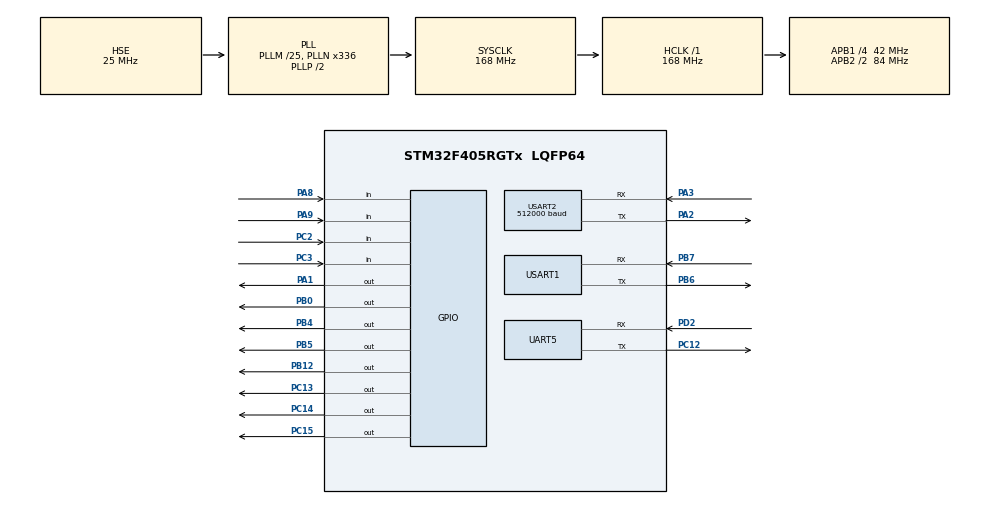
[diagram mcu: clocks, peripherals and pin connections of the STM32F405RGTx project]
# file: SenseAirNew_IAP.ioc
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Dma.Request0=UART5_RX
Dma.Request1=UART5_TX
Dma.Request2=USART1_RX
Dma.Request3=USART2_RX
Dma.Request4=USART1_TX
Dma.Request5=USART2_TX
Dma.UART5_RX.0.Direction=DMA_PERIPH_TO_MEMORY
Dma.UART5_RX.0.FIFOMode=DMA_FIFOMODE_DISABLE
Dma.UART5_RX.0.Instance=DMA1_Stream0
Dma.UART5_RX.0.MemDataAlignment=DMA_MDATAALIGN_BYTE
Dma.UART5_RX.0.MemInc=DMA_MINC_ENABLE
Dma.UART5_RX.0.Mode=DMA_CIRCULAR
Dma.UART5_RX.0.PeriphDataAlignment=DMA_PDATAALIGN_BYTE
Dma.UART5_RX.0.PeriphInc=DMA_PINC_DISABLE
Dma.UART5_RX.0.Priority=DMA_PRIORITY_VERY_HIGH
Dma.UART5_TX.1.Direction=DMA_MEMORY_TO_PERIPH
Dma.UART5_TX.1.FIFOMode=DMA_FIFOMODE_DISABLE
Dma.UART5_TX.1.Instance=DMA1_Stream7
Dma.UART5_TX.1.MemDataAlignment=DMA_MDATAALIGN_BYTE
Dma.UART5_TX.1.MemInc=DMA_MINC_ENABLE
Dma.UART5_TX.1.Mode=DMA_NORMAL
Dma.UART5_TX.1.PeriphDataAlignment=DMA_PDATAALIGN_BYTE
Dma.UART5_TX.1.PeriphInc=DMA_PINC_DISABLE
Dma.UART5_TX.1.Priority=DMA_PRIORITY_VERY_HIGH
Dma.USART1_RX.2.Direction=DMA_PERIPH_TO_MEMORY
Dma.USART1_RX.2.FIFOMode=DMA_FIFOMODE_DISABLE
Dma.USART1_RX.2.Instance=DMA2_Stream2
Dma.USART1_RX.2.MemDataAlignment=DMA_MDATAALIGN_BYTE
Dma.USART1_RX.2.MemInc=DMA_MINC_ENABLE
Dma.USART1_RX.2.Mode=DMA_CIRCULAR
Dma.USART1_RX.2.PeriphDataAlignment=DMA_PDATAALIGN_BYTE
Dma.USART1_RX.2.PeriphInc=DMA_PINC_DISABLE
Dma.USART1_RX.2.Priority=DMA_PRIORITY_VERY_HIGH
Dma.USART1_TX.4.Direction=DMA_MEMORY_TO_PERIPH
Dma.USART1_TX.4.FIFOMode=DMA_FIFOMODE_DISABLE
Dma.USART1_TX.4.Instance=DMA2_Stream7
Dma.USART1_TX.4.MemDataAlignment=DMA_MDATAALIGN_BYTE
Dma.USART1_TX.4.MemInc=DMA_MINC_ENABLE
Dma.USART1_TX.4.Mode=DMA_NORMAL
Dma.USART1_TX.4.PeriphDataAlignment=DMA_PDATAALIGN_BYTE
Dma.USART1_TX.4.PeriphInc=DMA_PINC_DISABLE
Dma.USART1_TX.4.Priority=DMA_PRIORITY_VERY_HIGH
Dma.USART2_RX.3.Direction=DMA_PERIPH_TO_MEMORY
Dma.USART2_RX.3.FIFOMode=DMA_FIFOMODE_DISABLE
Dma.USART2_RX.3.Instance=DMA1_Stream5
Dma.USART2_RX.3.MemDataAlignment=DMA_MDATAALIGN_BYTE
Dma.USART2_RX.3.MemInc=DMA_MINC_ENABLE
Dma.USART2_RX.3.Mode=DMA_CIRCULAR
Dma.USART2_RX.3.PeriphDataAlignment=DMA_PDATAALIGN_BYTE
Dma.USART2_RX.3.PeriphInc=DMA_PINC_DISABLE
Dma.USART2_RX.3.Priority=DMA_PRIORITY_VERY_HIGH
Dma.USART2_TX.5.Direction=DMA_MEMORY_TO_PERIPH
Dma.USART2_TX.5.FIFOMode=DMA_FIFOMODE_DISABLE
Dma.USART2_TX.5.Instance=DMA1_Stream6
Dma.USART2_TX.5.MemDataAlignment=DMA_MDATAALIGN_BYTE
Dma.USART2_TX.5.MemInc=DMA_MINC_ENABLE
Dma.USART2_TX.5.Mode=DMA_NORMAL
Dma.USART2_TX.5.PeriphDataAlignment=DMA_PDATAALIGN_BYTE
Dma.USART2_TX.5.PeriphInc=DMA_PINC_DISABLE
Dma.USART2_TX.5.Priority=DMA_PRIORITY_VERY_HIGH
Mcu.Family=STM32F4
Mcu.Name=STM32F405RGTx
Mcu.Package=LQFP64
NVIC.DMA1_Stream0_IRQn=true\:0\:0\:false\:false\:true\:false
NVIC.DMA1_Stream5_IRQn=true\:0\:0\:false\:false\:true\:false
NVIC.DMA1_Stream6_IRQn=true\:0\:0\:false\:false\:true\:false
NVIC.DMA1_Stream7_IRQn=true\:0\:0\:false\:false\:true\:false
NVIC.DMA2_Stream2_IRQn=true\:0\:0\:false\:false\:true\:false
NVIC.DMA2_Stream7_IRQn=true\:0\:0\:false\:false\:true\:false
NVIC.PriorityGroup=NVIC_PRIORITYGROUP_4
NVIC.UART5_IRQn=true\:0\:0\:false\:false\:true\:true
NVIC.USART1_IRQn=true\:0\:0\:false\:false\:true\:true
NVIC.USART2_IRQn=true\:0\:0\:false\:false\:true\:true
PA1.Signal=GPIO_Output
PA13.Mode=Serial_Wire
PA13.Signal=SYS_JTMS-SWDIO
PA14.Mode=Serial_Wire
PA14.Signal=SYS_JTCK-SWCLK
PA2.Mode=Asynchronous
PA2.Signal=USART2_TX
PA3.Mode=Asynchronous
PA3.Signal=USART2_RX
PA5.Signal=SPI1_SCK
PA6.Signal=SPI1_MISO
PA7.Signal=SPI1_MOSI
PA8.Signal=GPIO_Input
PA9.Signal=GPIO_Input
PB0.Signal=GPIO_Output
PB12.Signal=GPIO_Output
PB13.Signal=SPI2_SCK
PB14.Signal=SPI2_MISO
PB15.Signal=SPI2_MOSI
PB4.Signal=GPIO_Output
PB5.Signal=GPIO_Output
PB6.Mode=Asynchronous
PB6.Signal=USART1_TX
PB7.Mode=Asynchronous
PB7.Signal=USART1_RX
PC12.Mode=Asynchronous
PC12.Signal=UART5_TX
PC13-ANTI_TAMP.Signal=GPIO_Output
PC14-OSC32_IN.Signal=GPIO_Output
PC15-OSC32_OUT.Signal=GPIO_Output
PC2.Signal=GPIO_Input
PC3.Signal=GPIO_Input
PD2.Mode=Asynchronous
PD2.Signal=UART5_RX
PH0-OSC_IN.Mode=HSE-External-Oscillator
PH0-OSC_IN.Signal=RCC_OSC_IN
PH1-OSC_OUT.Mode=HSE-External-Oscillator
PH1-OSC_OUT.Signal=RCC_OSC_OUT
ProjectManager.HeapSize=0xF000
ProjectManager.StackSize=0x8000
ProjectManager.TargetToolchain=EWARM
RCC.48MHZClocksFreq_Value=84000000
RCC.AHBFreq_Value=168000000
RCC.APB1CLKDivider=RCC_HCLK_DIV4
RCC.APB1Freq_Value=42000000
RCC.APB1TimFreq_Value=84000000
RCC.APB2CLKDivider=RCC_HCLK_DIV2
RCC.APB2Freq_Value=84000000
RCC.APB2TimFreq_Value=168000000
RCC.CortexFreq_Value=168000000
RCC.HCLKFreq_Value=168000000
RCC.HSE_VALUE=25000000
RCC.HSI_VALUE=16000000
RCC.LSE_VALUE=32768
RCC.PLLM=25
RCC.PLLN=336
RCC.PLLSourceVirtual=RCC_PLLSOURCE_HSE
RCC.SYSCLKFreq_VALUE=168000000
RCC.SYSCLKSource=RCC_SYSCLKSOURCE_PLLCLK
RCC.VCOOutputFreq_Value=336000000
UART5.VirtualMode=Asynchronous
USART1.VirtualMode=VM_ASYNC
USART2.BaudRate=512000
USART2.VirtualMode=VM_ASYNC
VP_CRC_VS_CRC.Mode=CRC_Activate
board=SenseAirNew_IAP

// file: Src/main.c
/**
  ******************************************************************************
  * @file           : main.c
  * @brief          : Main program body
  ******************************************************************************
  ** This notice applies to any and all portions of this file
  * that are not between comment pairs USER CODE BEGIN and
  * USER CODE END. Other portions of this file, whether
  * inserted by the user or by software development tools
  * are owned by their respective copyright owners.
  *
  * COPYRIGHT(c) 2018 STMicroelectronics
  *
  * Redistribution and use in source and binary forms, with or without modification,
  * are permitted provided that the following conditions are met:
  *   1. Redistributions of source code must retain the above copyright notice,
  *      this list of conditions and the following disclaimer.
  *   2. Redistributions in binary form must reproduce the above copyright notice,
  *      this list of conditions and the following disclaimer in the documentation
  *      and/or other materials provided with the distribution.
  *   3. Neither the name of STMicroelectronics nor the names of its contributors
  *      may be used to endorse or promote products derived from this software
  *      without specific prior written permission.
  *
  * THIS SOFTWARE IS PROVIDED BY THE COPYRIGHT HOLDERS AND CONTRIBUTORS "AS IS"
  * AND ANY EXPRESS OR IMPLIED WARRANTIES, INCLUDING, BUT NOT LIMITED TO, THE
  * IMPLIED WARRANTIES OF MERCHANTABILITY AND FITNESS FOR A PARTICULAR PURPOSE ARE
  * DISCLAIMED. IN NO EVENT SHALL THE COPYRIGHT HOLDER OR CONTRIBUTORS BE LIABLE
  * FOR ANY DIRECT, INDIRECT, INCIDENTAL, SPECIAL, EXEMPLARY, OR CONSEQUENTIAL
  * DAMAGES (INCLUDING, BUT NOT LIMITED TO, PROCUREMENT OF SUBSTITUTE GOODS OR
  * SERVICES; LOSS OF USE, DATA, OR PROFITS; OR BUSINESS INTERRUPTION) HOWEVER
  * CAUSED AND ON ANY THEORY OF LIABILITY, WHETHER IN CONTRACT, STRICT LIABILITY,
  * OR TORT (INCLUDING NEGLIGENCE OR OTHERWISE) ARISING IN ANY WAY OUT OF THE USE
  * OF THIS SOFTWARE, EVEN IF ADVISED OF THE POSSIBILITY OF SUCH DAMAGE.
  *
  ******************************************************************************
  */
#include "main.h"
#include "stm32f4xx_hal.h"

/* USER CODE BEGIN Includes */

#include "stm32f4xx_hal_crc.h"

#include "includes.h"
#include "stm32f4xx_hal_flash.h"
#include "stm32f4xx_hal_flash_ex.h"
#include "common.h"
/* USER CODE END Includes */

CRC_HandleTypeDef hcrc;

UART_HandleTypeDef huart5;
UART_HandleTypeDef huart1;
UART_HandleTypeDef huart2;
DMA_HandleTypeDef hdma_uart5_rx;
DMA_HandleTypeDef hdma_uart5_tx;
DMA_HandleTypeDef hdma_usart1_rx;
DMA_HandleTypeDef hdma_usart1_tx;
DMA_HandleTypeDef hdma_usart2_rx;
DMA_HandleTypeDef hdma_usart2_tx;

/* USER CODE BEGIN PV */
/* Private variables ---------------------------------------------------------*/
//UART_HandleTypeDef UartHandle;

#define Sense_UID1 (*(__I uint32_t *) 0x1FFF7A10)
#define Sense_UID2 (*(__I uint32_t *) 0x1FFF7A14)
#define Sense_UID3 (*(__I uint32_t *) 0x1FFF7A18)
float Smart_Version_ID;
float Sense_Version_ID = 2.21;

uint32_t  Smart_UID1, Smart_UID2, Smart_UID3;
char term_buffer[3000];

//#define G 9.80665
uint32_t msTicks = 0, msTicks_Send_to_Modem = 0;
uint32_t Counter1Sec;
uint32_t Counter1Min;
uint32_t CounterNoGPS;

//#define ARM_MATH_CM4
//#define __FPU_PRESENT 1

int Wait_Answer(long int wait);

//#define STD_arr_len 20
//        float AX_arr[STD_arr_len];
//        float AY_arr[STD_arr_len];
//        float AZ_arr[STD_arr_len];
//        float AX_Std = 0,AY_Std=0,AZ_Std=0;
//        int A_arr_cnt=0;

// AT commands
char ATcommandCheckGPS[] = "at^sgpsc?\r\n";
char ATcommandCheckGPSEngine[] = "at^sgpsc:\"Engine\"\r\n";
char ATcommandEnableGPS[] = "at^sgpsc=\"Engine\",3\r\n";
char ATcommandDisableGPS_GPGSV[] = "at^SGPSC=\"Nmea/Data\",\"GSV\",\"off\"\r\n";
char ATcommandEnableGPS_GPRMC[] = "at^SGPSC=\"Nmea/Data\",\"RMC\",\"on\"\r\n";

//input buffer & pointers UART1 & UART5
char * status = "1";
char * id = "1";

extern char aRxBufferCh5;
extern char InBuf5[];
extern uint16_t InBuf5InPtr;

extern char aRxBufferCh1;
extern char InBuf1[];
extern uint16_t InBuf1InPtr;

extern char aRxBufferCh2;
extern char InBuf2[];
extern uint16_t InBuf2InPtr;

bool Catched_String_UART1 = false;
bool Catched_String_UART2 = false;
bool Catched_String_UART5 = false;
float roll_calib = 0, pitch_calib = 0;
void InsertCharToString_UART2(char InChar); // catch string at UART2
char pbuf_IN_UART2[500];
uint16_t pbuf_IN_UART2_ptr = 0;

uint16_t Great_Status=0;
uint16_t Destination=0; 			//  where to send data from modem
uint16_t emergency_state=0;
//--------------------

uint8_t pos, start, Catching_Gps_Message = 0, Got_Gps_Message = 0,
		Got_RMC_Message = 0, Got_GGA_Message = 0;
char pbuf[200] = "";
uint16_t pbuf_ptr = 0;
char header[100] = "";

uint8_t gprmc_rdy = 0;
uint8_t gpgga_rdy = 0;

uint16_t SentCnt = 0; // counter of sent GPS messages to cloud

float GPS_lat, GPS_lon, angle, Hangle, lat, lon, lat_seconds, lon_seconds, HDOP,
	  height, velocity;

char height_units, HangleC, ModeC, Valid, lat_sign, lon_sign;

int GPS_hour, GPS_min, GPS_sec, GPS_ms, GPS_day, GPS_month, GPS_year,
		lat_degrees, lat_minutes, lon_degrees, lon_minutes, precision,
		satellites;
bool need_smart_cfg = 1;

typedef struct sEE_DATA
{
  uint32_t status;
  float att_roll_lim;
  float att_pitch_lim;
  float att_rate_lim;
  float att_rate;
  float yaw_rate;
  float height_lim;
  float fall_value;
  float pyro_res;
  uint8_t count_fall;
  uint8_t rc;
  uint8_t emr_bat_ena;
  uint8_t num_of_cell;
  uint8_t ec;
  uint16_t motor_delay;
  float sea_level;
  uint16_t dst;                              // where to send data from modem
  uint8_t use_sd_card;
  uint16_t pyro_test_freq;
  char Password[30];
  char Log_file_name[255];
} tEE_DATA;
tEE_DATA ee;

char ResultStringToCloud[500];
char StringToSmart[500];

/* USER CODE END PV */

void SystemClock_Config(void);
static void MX_GPIO_Init(void);
static void MX_DMA_Init(void);
static void MX_UART5_Init(void);
static void MX_USART1_UART_Init(void);
static void MX_USART2_UART_Init(void);
static void MX_CRC_Init(void);

/* USER CODE BEGIN PFP */
/* Private function prototypes -----------------------------------------------*/

pFunction JumpToApplication;
uint32_t JumpAddress;
uint32_t FlashProtection = 0;
uint8_t aFileName[FILE_NAME_LENGTH];

/* Private function prototypes -----------------------------------------------*/
int SerialDownload(bool move);
void SerialUpload(void);

extern char aRxBufferCh1;
extern char aRxBufferCh2;
extern char aRxBufferCh5;

/* Private functions ---------------------------------------------------------*/

/**
  * @brief  Download a file via serial port
  * @param  None
  * @retval None
  */

void Jump_to_main_programm(void)
{
      JumpAddress = *(__IO uint32_t*) (APPLICATION_ADDRESS + 4);
      JumpToApplication = (pFunction) JumpAddress;
      __set_MSP(*(__IO uint32_t*) APPLICATION_ADDRESS);
      JumpToApplication();
}

 /* calculating CRC */

u32 revbit(u32 data)
 {
   asm("rbit r0,r0");
   return data;
 };

u32 CalcCRC32(u8 *buffer,u32 size)
 {
   u32 i, j;
   u32 ui32;
   //RCC_AHBPeriphClockCmd(RCC_AHBPeriph_CRC,ENABLE);

   CRC->CR=1;

   asm("NOP");asm("NOP");asm("NOP");//delay for hardware ready

   i = size >> 2;

   while(i--)
   {
     ui32=*((u32 *)buffer);

     buffer += 4;

     ui32=revbit(ui32);//reverse the bit order of input data

     CRC->DR=ui32;
   }

   ui32=CRC->DR;

   ui32=revbit(ui32);//reverse the bit order of output data

   i = size & 3;

   while(i--)
   {
     ui32 ^= (u32)*buffer++;

     for(j=0; j<8; j++)
       if (ui32 & 1)
         ui32 = (ui32 >> 1) ^ 0xEDB88320;
       else
         ui32 >>= 1;
   }

   ui32^=0xffffffff;//xor with 0xffffffff

   return ui32;//now the output is compatible with windows/winzip/winrar
 };

void vprint(const char *fmt, va_list argp) {
	char string[300];
	if (0 < vsprintf(string, fmt, argp)) // build string
			{
		HAL_UART_Transmit(&huart1, (u8*) string, strlen(string), 500); // send message via UART
	}
}

void send_to_PC_UART1(const char *fmt, ...) // custom printf() function
{
	va_list argp;
	va_start(argp, fmt);
	vprint(fmt, argp);
	va_end(argp);
}

void vprint2(const char *fmt, va_list argp) {
	char string[300];
	if (0 < vsprintf(string, fmt, argp)) // build string
	{
		HAL_UART_Transmit(&huart2, (u8*) string, strlen(string), 500); // send message via UART
	}
}

void send_to_smartair(const char *fmt, ...) // custom printf() function
{
	va_list argp;
	va_start(argp, fmt);
	vprint2(fmt, argp);
	va_end(argp);
}
void vprint3(const char *fmt, va_list argp) {
	char string[300];
	if (0 < vsprintf(string, fmt, argp)) // build string
			{
		HAL_UART_Transmit(&huart5, (u8*) string, strlen(string), 500); // send message via UART
	}
}

void send_to_modem(const char *fmt, ...) // custom printf() function
{
	va_list argp;
	va_start(argp, fmt);
	vprint3(fmt, argp);
	va_end(argp);
}

void InsertCharToString_UART2(char InChar) // catch string at UART2
{       if (!Catched_String_UART2)
        {
          pbuf_IN_UART2[pbuf_IN_UART2_ptr++] = InChar;
          if (InChar=='\r')
              { Catched_String_UART2 = true;
                pbuf_IN_UART2[pbuf_IN_UART2_ptr]=0;
                pbuf_IN_UART2_ptr = 0;
              }
          else
          { Catched_String_UART2 = false;
            if (pbuf_IN_UART2_ptr>=500)
              { pbuf_IN_UART2_ptr=0;
              }
          }
	}
}

//uint32_t acu_File[3000];
//uint32_t ccu_File[3000];
extern uint32_t msTicks,msTicks_Send_to_Modem;
extern UART_HandleTypeDef huart2;
extern UART_HandleTypeDef huart5;

extern bool Catched_String_UART5;
//char aRxBufferCh5='5';
//#define InBuf5SizeDef 2000
extern char InBuf5[];
extern uint16_t InBuf5InPtr;
uint32_t acuCRC =0 ,ccuCRC = 0;
uint32_t acu_Size = 0,ccu_Size = 0;

//char term_buffer[1000];

int Wait_Answer(long int wait)
{     term_buffer[0] = 0;
      msTicks = 0;
      if (wait<20000) wait = 20000;
      while(msTicks<wait)
      {
          if (Catched_String_UART5 == true)
          {
    //        if ((strlen(term_buffer)+strlen(InBuf5)) > sizeof(term_buffer)) { term_buffer[0] = 0; }
    //            strcat(term_buffer,InBuf5);
    //            //HAL_UART_Transmit(&huart1, (uint8_t *) &InBuf5, strlen(InBuf5), 5); // send buf to PC via uart1
    //            //Catched_String_UART5 = false;
                Catched_String_UART5 = false;
                if (strstr((char*)InBuf5,"OK")!=NULL) break;
                if (strstr((char*)InBuf5,"ERR")!=NULL) break;
                if (strstr((char*)InBuf5,"^SYSSTART")!=NULL) break;
                if (strstr((char*)InBuf5,"CONNECT")!=NULL) break;

    //            if (strstr((char*)InBuf5,"OK")!=NULL) break;
    //            if (strstr((char*)InBuf5,"ERR")!=NULL) break;
    //            if (strstr((char*)InBuf5,"^SYSSTART")!=NULL) break;
    //            if (strstr((char*)InBuf5,"CONNECT")!=NULL) break;
            }
      }
      HAL_Delay(300);

//      strcat(term_buffer,"\n\0");
//      HAL_UART_Transmit(&huart2, (uint8_t *) &term_buffer, strlen(term_buffer), 50); // send buf to PC via uart1
//      //HAL_Delay(50);
//      HAL_UART_Transmit(&huart1, (uint8_t *) &term_buffer, strlen(term_buffer), 50); // send buf to PC via uart1
//      //HAL_Delay(50);
}

int AT_init_Modem()
{

//            at^sgpsc="Engine",0
//                      at^sgpsc="Engine",3
//             AT^SFSA="ls", "a:/"
//            AT^SFSA="rename", "a:/MQTT.jar", "MQT.ja"
//
//            AT^SFSA="remove", "a:/MQTT.jad"
//            AT^SFSA="remove", "a:/MQTT.jar"
//              AT^SFSA="remove", AT^SJAM=2,"http://192.168.244.2:49363/MQTT.jad",""
//      AT^SJAM=3,"http://192.168.244.2:49363/MQTT.jad",""
//            AT^SJAM=4                                 list installed apps
//            AT^SJAM=5                                 list running apps

//            AT^SJAM=0,"a:/MQTT.jar",""                install
//
//            AT^SJAM=1,"a:/MQTT.jar",""                start
//
//            AT^SJAM=2,"a:/MQTT.jar",""                stop
//
//            AT^SJAM=3,"a:/MQTT.jar",""                uninstall
//
//            at^sgpsc="Engine",0
//
//            AT^SJDL=1,330,"MQTT.jad" upload file

 //                         AT^SJDL=1,50,"test.jad"
//            AT^SJDL=2,30,"MQTT.jad" delete file
//                AT^SJDL=2,30,"MQTT.jar"
//            AT^SJDL=1,228283,"MQTT.jar"
//                      SPOW set sleep mode
//            AT^SGPSC?
 //  AT^SCFG="Serial/Interface/Allocation","0","0"
//AT^SCFG="Serial/Interface/Allocation",0
//                                              AT^SGPSC="Nmea/Output","on"             AT^SGPSC="Nmea/Output","off"
//            AT^SGPSC="Nmea/Interface","asc0"
//      AT^SGPSC="Nmea/Interface","usb5"
//            AT^SGPSC="Nmea/Interface","local"
//            at^sgpsc?
//                      ate 0   AT commanf echo OFF
//        at^spow?
//              at^spow=1,0,0    enable asc0
// ate 0
                     //   AT^SCFG="Userware/Autostart",0

//                              AT^SCFG="Userware/Autostart/Delay",10

//AT^SCFG="GPIO/mode/DCD0","std" (enables DCD0 line for ASC0)
//AT^SCFG="GPIO/mode/DTR0","std" (enables DTR0 line for ASC0)
//AT^SCFG="GPIO/mode/DSR0","std" (enables DSR0 line for ASC0)
//
//AT^SCFG="GPIO/mode/DCD0","gpio"
//AT^SCFG="GPIO/mode/DTR0","gpio"
//AT^SCFG="GPIO/mode/DSR0","gpio"
//
//AT^SCFG="Userware/Stdout","ASC0",,,,"off"
//AT^SCFG="Userware/Stdout","USB1",,,,"off"
//AT+CMUX?                        ???????????????????????????? "Multiplexer User's Guide" [4] which
//
//             AT^SISX=<service>, <conProfileId>, <address>[, <request>[, <timelimit>]]
//AT^SISX="Ping", 6, "8.8.8.8",3 AT^SISX=?
//  AT^SISX="HostByName",3,"www.nist.gov"
//AT^SISX="Ping",0,8.8.8.8,4,2000
//AT^SICS=0,apn,"internet.golantelecom.co.il"

//  AT^SCFG="Radio/OutputPowerReduction","0"
// AT^SJMSEC?
//!!      Wait_Answer2(10000);
//
      HAL_UART_Transmit(&huart5, (uint8_t *) "ate 1\r\n",sizeof("ate 0\r\n"),10);                                        // ok
      Wait_Answer(5000);

      HAL_UART_Transmit(&huart5, (uint8_t *) "at^spow=1,0,0\r\n",sizeof("at^spow=1,0,0\r\n"),10);                       // ok
      Wait_Answer(1000);

      HAL_UART_Transmit(&huart5, (uint8_t *) "AT^SGPSC=\"Engine\",\"0\"\r" ,strlen("AT^SGPSC=\"Engine\",\"0\"\r"),20);   //  GPS on
      Wait_Answer(5000);

      HAL_UART_Transmit(&huart5, (uint8_t *) "AT^SJAM=2,\"a:/MQTT.jar\",\"\"\r\n",sizeof("AT^SJAM=2,\"a:/MQTT.jar\",\"\"\r\n"),100);
      Wait_Answer(40000);

////      HAL_UART_Transmit(&huart5, (uint8_t *) "at^sgpsc?\r\n",sizeof("at^sgpsc?\r\n"),1);                                        // ok
////      Wait_Answer(10000);
//
////      HAL_UART_Transmit(&huart5, (uint8_t *) "at^scfg?\r\n",sizeof("at^scfg?\r\n"),1);                                        // ok
////      Wait_Answer(10000);

}

//void MX_UART5_Init(void);
//void MX_USART1_UART_Init(void);
//void MX_USART2_UART_Init(void);
//

int SerialDownload(bool move)
{
  uint8_t number[11] = {0};
  uint32_t size = 0;

  COM_StatusTypeDef result;
 // sprintf(term_buffer,"\r\nSenseAir waiting for SmartAir starts to send new FW for SenseAir\r\n"); PRINT();

  HAL_UART_DMAStop(&huart5);
  HAL_UART_DMAStop(&huart2);

  result = Ymodem_Receive( &size );

  sprintf(term_buffer,"\r\nSenseAir Ymodem recieve ended.\r\n"); PRINT();

  if (HAL_UART_Receive_DMA(&huart5, (uint8_t *) &aRxBufferCh5, 1) != HAL_OK) {	} //Error_Handler();
  if (HAL_UART_Receive_DMA(&huart2, (uint8_t *) &aRxBufferCh2, 1) != HAL_OK) {	} //Error_Handler();

  if (result == COM_OK)
  {
        if (strstr((char*)aFileName,"ACU.bin")!=NULL)
        {
          // DELETE sertificates

            AT_init_Modem();

            HAL_UART_Transmit(&huart5, (uint8_t *) "AT^SJMSEC?\r\n",sizeof("AT^SJMSEC?\r\n"),100);
            Wait_Answer(20000);

            HAL_UART_Transmit(&huart5, (uint8_t *) "at^sjmsec=cmd,\"0600B1000000\"\r\n",sizeof("at^sjmsec=cmd,\"0600B1000000\"\r\n"),100);
            Wait_Answer(20000);
            HAL_UART_Transmit(&huart5, (uint8_t *) "AT+CFUN=1,1\r\n",sizeof("AT+CFUN=1,1\r\n"),100);          // reboot
            sprintf(term_buffer,"\r\nRestarting modem..\r\n"); PRINT();
            Wait_Answer(10000);
            AT_init_Modem();

            HAL_UART_Transmit(&huart5, (uint8_t *) "at^sjmsec=cmd,\"060091000000\"\r\n",sizeof("at^sjmsec=cmd,\"060091000000\"\r\n"),100);
            Wait_Answer(10000);
            HAL_UART_Transmit(&huart5, (uint8_t *) "AT+CFUN=1,1\r\n",sizeof("AT+CFUN=1,1\r\n"),100);          // reboot
            sprintf(term_buffer,"\r\nRestarting modem..\r\n"); PRINT();
            Wait_Answer(10000);
            AT_init_Modem();

            HAL_UART_Transmit(&huart5, (uint8_t *) "AT^SFSA=\"remove\",\"a:/ACU.bin\"\r\n",sizeof("AT^SFSA=\"remove\",\"a:/ACU.bin\"\r\n"),100);
            Wait_Answer(10000);

            HAL_UART_Transmit(&huart5, (uint8_t *) "AT^SFSA=\"remove\",\"a:/CCU.bin\"\r\n",sizeof("AT^SFSA=\"remove\",\"a:/CCU.bin\"\r\n"),100);
            Wait_Answer(10000);

            HAL_UART_Transmit(&huart5, (uint8_t *) "AT^SJMSEC?\r\n",sizeof("AT^SJMSEC?\r\n"),100);
            Wait_Answer(10000);

      // SEND ACU.FILE
            acu_Size = size; //acu_File = (uint8_t*)DOWNLOAD_ADDRESS;
            acuCRC = CalcCRC32((uint8_t*)DOWNLOAD_ADDRESS,acu_Size);
            sprintf(term_buffer,"AT^SJDL=1,%d,\"ACU.bin\"\r\n",acu_Size);// PRINT();                // prepare to send file
            HAL_Delay(150);
            HAL_UART_Transmit(&huart5, (uint8_t *) term_buffer,strlen(term_buffer),100);
            Wait_Answer(10000);

            sprintf(term_buffer,"\r\nSending ACU file. size: %d CRC: 0x%0x\r\n",acu_Size,acuCRC); PRINT();
            HAL_Delay(150);
            HAL_UART_Transmit(&huart5, (uint8_t *) DOWNLOAD_ADDRESS,(acu_Size),10000);
            Wait_Answer(10000);

            HAL_UART_Transmit(&huart5, (uint8_t *) "AT^SJMSEC=\"file\",\"ACU.bin\"\r\n",sizeof("AT^SJMSEC=\"file\",\"ACU.bin\"\r\n"),100);
            Wait_Answer(10000);
            HAL_UART_Transmit(&huart5, (uint8_t *) "AT+CFUN=1,1\r\n",sizeof("AT+CFUN=1,1\r\n"),100);           // reboot modem
            sprintf(term_buffer,"\r\nRestarting modem..\r\n"); PRINT();
            Wait_Answer(10000);

            AT_init_Modem();

            HAL_UART_Transmit(&huart5, (uint8_t *) "AT^SJMSEC?\r\n",sizeof("AT^SJMSEC?\r\n"),100);
            Wait_Answer(10000);

            sprintf(term_buffer,"\n\rSenseAir Modem ACU sertificate loaded\n\r");
            HAL_UART_Transmit(&huart2, (uint8_t *) &term_buffer, strlen(term_buffer), 100); // send buf to PC via uart1

        }
        else
        if (strstr((char*)aFileName,"CCU.bin")!=NULL)
        {

            AT_init_Modem();

      // SEND CCU.FILE
            ccu_Size = size; //ccu_File = DOWNLOAD_ADDRESS;
            ccuCRC = CalcCRC32((uint8_t*)DOWNLOAD_ADDRESS,ccu_Size);
            sprintf(term_buffer,"AT^SJDL=1,%d,\"CCU.bin\"\r\n",ccu_Size);// PRINT();                // prepare to send  file
            HAL_Delay(150);
            HAL_UART_Transmit(&huart5, (uint8_t *) term_buffer,strlen(term_buffer),100);
            Wait_Answer(10000);

            sprintf(term_buffer,"\r\nSending CCU file. size: %d CRC: 0x%0x\r\n",ccu_Size,ccuCRC); PRINT();
            HAL_Delay(150);
            HAL_UART_Transmit(&huart5, (uint8_t *) DOWNLOAD_ADDRESS,(ccu_Size),10000);
            Wait_Answer(10000);

            HAL_UART_Transmit(&huart5, (uint8_t *) "AT^SJMSEC=\"file\",\"CCU.bin\"\r\n",sizeof("AT^SJMSEC=\"file\",\"CCU.bin\"\r\n"),100);
            Wait_Answer(10000);

            HAL_UART_Transmit(&huart5, (uint8_t *) "AT+CFUN=1,1\r\n",sizeof("AT+CFUN=1,1\r\n"),100);           // reboot modem
            sprintf(term_buffer,"\r\nRestarting modem..\r\n"); PRINT();
            Wait_Answer(10000);
            AT_init_Modem();

            HAL_UART_Transmit(&huart5, (uint8_t *) "AT^SJMSEC=\"cmd\",\"0B00310001000500020001\"\r\n",sizeof("AT^SJMSEC=\"cmd\",\"0B00310001000500020001\"\r\n"),100);
            Wait_Answer(10000);
            HAL_UART_Transmit(&huart5, (uint8_t *) "AT+CFUN=1,1\r\n",sizeof("AT+CFUN=1,1\r\n"),100);
            sprintf(term_buffer,"\r\nRestarting modem..\r\n"); PRINT();
            Wait_Answer(10000);

            AT_init_Modem();

            HAL_UART_Transmit(&huart5, (uint8_t *) "AT^SJMSEC?\r\n",sizeof("AT^SJMSEC?\r\n"),100);
            Wait_Answer(10000);

            sprintf(term_buffer,"\r\nSenseAir Modem CCU sertificate loaded\r\n"); PRINT();

        }
        else
        {
            if (move)
            {
              FLASH_If_Erase(APPLICATION_ADDRESS,USER_FLASH_SIZE);
              if (FLASH_If_Write(APPLICATION_ADDRESS, (uint32_t*) DOWNLOAD_ADDRESS, size/4+1) == FLASHIF_OK)
              {
                    sprintf(term_buffer,"\r\nLoading SenseAir FW from SmartAir completed successfully. Name: %s Size: %d bytes.\r\n",aFileName,size); PRINT();
                    uint32_t AA = 0xAAAAAAAA;
                    uint32_t FF = 0xFFFFFFFF;
                    uint32_t* ee_flash_base = (uint32_t*)FLAG_ADDRESS;
            //        uint32_t Res = *ee_flash_base;
            //        if (Res==FF)
                      {
                        FLASH_If_Erase(FLAG_ADDRESS,4);
                        if (FLASH_If_Write(FLAG_ADDRESS, &FF,1) == FLASHIF_OK)
                        { sprintf(term_buffer,"\n\rSenseAir Flag \"Need update modem\" succesfully written.\r\n"); PRINT();
                        }
                        else
                        { sprintf(term_buffer,"\n\rSenseAir Error. Flag \"Need update modem\" not written.\r\n"); PRINT();
                        }
                      }
                    HAL_UART_DMAStop(&huart5);
                    HAL_UART_DMAStop(&huart1);
                    HAL_UART_DMAStop(&huart2);
                    Jump_to_main_programm();
              }
              else /* An error occurred while writing to Flash memory */
              { sprintf(term_buffer,"\r\nSenseAir Error moving FW to start addr\r\n"); PRINT();
              }
            }
              //sprintf(term_buffer,"\r\nLoading SenseAir FW from SmartAit completed successfully. Name: %s Size: %d bytes.",aFileName,size); PRINT();
       }
  }
  else if (result == COM_LIMIT)
  {
    sprintf(term_buffer,"\r\nSenseAir The FW size is higher than the allowed space memory!\r\n"); PRINT();
  }
  else if (result == COM_DATA)
  {
    sprintf(term_buffer,"\r\nSenseAir Verification failed!\r\n"); PRINT();
  }
  else if (result == COM_ABORT)
  {
    sprintf(term_buffer,"\r\n\n\nSenseAir Aborted by user.\r\n"); PRINT();
  }
  else
  {
    sprintf(term_buffer,"\r\nSenseAir Failed to receive the file!\r\n"); PRINT();
  }
  return result;
}

/**
  * @brief  Upload a file via serial port.
  * @param  None
  * @retval None
  */
void SerialUpload(void)
{
  uint8_t status = 0;

//  sprintf(term_buffer,"\r\nSelect Receive File"); PRINT();

  HAL_UART_Receive(&UartHandle, &status, 1, RX_TIMEOUT);
  if ( status == CRC16)
  {
    /* Transmit the flash image through ymodem protocol */
    status = Ymodem_Transmit((uint8_t*)DOWNLOAD_ADDRESS, (const uint8_t*)"UploadedFlashImage.bin", USER_FLASH_SIZE);

    if (status != 0)
    {
      sprintf(term_buffer,"\r\nSenseAir Error occurred while Transmitting File\r\n"); PRINT();
    }
    else
    {
      sprintf(term_buffer,"\r\nSenseAir file uploaded successfully\r\n"); PRINT();
    }
  }
}

/* USER CODE END PFP */

/* USER CODE BEGIN 0 */
void init_modem() {
	uint16_t b0 = HAL_GPIO_ReadPin(GPIOB, GPIO_PIN_0);
	if (b0 == 0)
		HAL_GPIO_WritePin(GPIOB, GPIO_PIN_0, GPIO_PIN_SET);

	HAL_GPIO_WritePin(GPIOB, GPIO_PIN_4, GPIO_PIN_RESET);
	HAL_Delay(10);
	HAL_GPIO_WritePin(GPIOB, GPIO_PIN_4, GPIO_PIN_SET);

	HAL_GPIO_WritePin(GPIOB, GPIO_PIN_5, GPIO_PIN_SET);
	HAL_GPIO_WritePin(GPIOB, GPIO_PIN_5, GPIO_PIN_RESET);
	HAL_GPIO_WritePin(GPIOB, GPIO_PIN_5, GPIO_PIN_SET);
}

 /* calculating CRC */
//
//void CRC32(uint8_t* Result, uint8_t* pTemp,uint16_t pTemp_bytes)
//{     uint32_t tmpCrc;
//
//      tmpCrc = HAL_CRC_Calculate(&hcrc, (uint32_t*)pTemp, (pTemp_bytes - 4) / 4);
//      if(pTemp_bytes % 4 > 0)
//      {   uint8_t i;
//          tmpCrc = 0;
//          for(i = 0; i > (pTemp_bytes % 4); i++)
//          {   tmpCrc = tmpCrc << 0x08;
//              tmpCrc |= pTemp[pTemp_bytes - 4 + i];
//          }
//          tmpCrc = HAL_CRC_Accumulate(&hcrc, &tmpCrc, 1);
//      }
//      Result[0] = (uint8_t)tmpCrc;
//      Result[1] = (uint8_t)(tmpCrc >> 0x08);
//      Result[2] = (uint8_t)(tmpCrc >> 0x10);
//      Result[3] = (uint8_t)(tmpCrc >> 0x18);
//}
/* USER CODE END 0 */

int main(void)
{

  /* MCU Configuration----------------------------------------------------------*/

  /* Reset of all peripherals, Initializes the Flash interface and the Systick. */
  HAL_Init();

  /* Configure the system clock */
  SystemClock_Config();

  /* Initialize all configured peripherals */
  MX_GPIO_Init();
  MX_DMA_Init();
  MX_UART5_Init();
  MX_USART1_UART_Init();
  MX_USART2_UART_Init();
  MX_CRC_Init();
  /* USER CODE BEGIN 2 */
//        perepheral_sensors_init();

//#define __RELEASE__
#ifdef __RELEASE__
        FLASH_OBProgramInitTypeDef OptionsBytesStruct;
        HAL_FLASH_Unlock();
        HAL_FLASH_OB_Unlock();
//        __HAL_FLASH_CLEAR_FLAG(FLASH_FLAG_ALL_ERRORS);
__HAL_FLASH_CLEAR_FLAG(FLASH_FLAG_EOP    | FLASH_FLAG_OPERR | FLASH_FLAG_WRPERR |\
                         FLASH_FLAG_PGAERR | FLASH_FLAG_PGPERR| FLASH_FLAG_PGSERR);
        HAL_FLASHEx_OBGetConfig(&OptionsBytesStruct);
        if((OptionsBytesStruct.RDPLevel) == OB_RDP_LEVEL_0)
        { OptionsBytesStruct.OptionType= OPTIONBYTE_RDP;
          OptionsBytesStruct.RDPLevel   = OB_RDP_LEVEL_1;
          if(HAL_FLASHEx_OBProgram(&OptionsBytesStruct) != HAL_OK)
          { sprintf(term_buffer,"\r\nOPB set error."); //strcat(start_buffer,term_buffer);
            PRINT();
          }
          else
          { sprintf(term_buffer,"\r\nOPB set OK."); //strcat(start_buffer,term_buffer);
            PRINT();
          }
          HAL_FLASH_OB_Launch();
        }
        HAL_FLASH_OB_Lock();
#endif

//        Wait_Answer(10000);

//	if (HAL_UART_Receive_DMA(&huart1, (uint8_t *) &aRxBufferCh1, 1) != HAL_OK) {	} //Error_Handler();
//	if (HAL_UART_Receive_DMA(&huart2, (uint8_t *) &aRxBufferCh2, 1) != HAL_OK) {	} //Error_Handler();
  /* USER CODE END 2 */

  /* Infinite loop */
  /* USER CODE BEGIN WHILE */

        uint32_t* ee_flash_base = (uint32_t*)FLAG_ADDRESS;
        uint32_t Res = *ee_flash_base;

	while (1)
        {
  /* USER CODE END WHILE */

  /* USER CODE BEGIN 3 */
          if (Res==0xFFFFFFFF)
          {
            init_modem(); // Init Modem

            if (HAL_UART_Receive_DMA(&huart5, (uint8_t *) &aRxBufferCh5, 1) != HAL_OK) {	} //Error_Handler();
//	    if (HAL_UART_Receive_DMA(&huart1, (uint8_t *) &aRxBufferCh1, 1) != HAL_OK) {	} //Error_Handler();
            if (HAL_UART_Receive_DMA(&huart2, (uint8_t *) &aRxBufferCh2, 1) != HAL_OK) {	} //Error_Handler();

            UartHandle = huart2;
            HAL_Delay(7250); // how long or till Ack?

            HAL_UART_Transmit(&huart5, (uint8_t *) "at^spow=1,0,0\r\n",sizeof("at^spow=1,0,0\r\n"),10);                       // ok

            __HAL_UART_FLUSH_DRREGISTER(&UartHandle);
            uint32_t SDLcnt = 0;
            while(1)
            { if(Catched_String_UART2 == true)
                { if (strstr((char*)InBuf2,"GET FILE")!=NULL)
                    {
                      while (SDLcnt++<12000)
                      {   HAL_Delay(300);
                          if (SerialDownload(true)==COM_OK) break;
                      }
                    }
                  Catched_String_UART2 = false;
                }
            }
          }
          else
          {     sprintf(term_buffer,"\r\nSenseAir bootloader. Start main program execution."); PRINT();
                HAL_UART_DMAStop(&huart5);
                Jump_to_main_programm();
          }
        }
  /* USER CODE END 3 */

}

void SystemClock_Config(void)
{

  RCC_OscInitTypeDef RCC_OscInitStruct;
  RCC_ClkInitTypeDef RCC_ClkInitStruct;

    /**Configure the main internal regulator output voltage
    */
  __HAL_RCC_PWR_CLK_ENABLE();

  __HAL_PWR_VOLTAGESCALING_CONFIG(PWR_REGULATOR_VOLTAGE_SCALE1);

    /**Initializes the CPU, AHB and APB busses clocks
    */
  RCC_OscInitStruct.OscillatorType = RCC_OSCILLATORTYPE_HSE;
  RCC_OscInitStruct.HSEState = RCC_HSE_ON;
  RCC_OscInitStruct.PLL.PLLState = RCC_PLL_ON;
  RCC_OscInitStruct.PLL.PLLSource = RCC_PLLSOURCE_HSE;
  RCC_OscInitStruct.PLL.PLLM = 25;
  RCC_OscInitStruct.PLL.PLLN = 336;
  RCC_OscInitStruct.PLL.PLLP = RCC_PLLP_DIV2;
  RCC_OscInitStruct.PLL.PLLQ = 4;
  if (HAL_RCC_OscConfig(&RCC_OscInitStruct) != HAL_OK)
  {
    _Error_Handler(__FILE__, __LINE__);
  }

    /**Initializes the CPU, AHB and APB busses clocks
    */
  RCC_ClkInitStruct.ClockType = RCC_CLOCKTYPE_HCLK|RCC_CLOCKTYPE_SYSCLK
                              |RCC_CLOCKTYPE_PCLK1|RCC_CLOCKTYPE_PCLK2;
  RCC_ClkInitStruct.SYSCLKSource = RCC_SYSCLKSOURCE_PLLCLK;
  RCC_ClkInitStruct.AHBCLKDivider = RCC_SYSCLK_DIV1;
  RCC_ClkInitStruct.APB1CLKDivider = RCC_HCLK_DIV4;
  RCC_ClkInitStruct.APB2CLKDivider = RCC_HCLK_DIV2;

  if (HAL_RCC_ClockConfig(&RCC_ClkInitStruct, FLASH_LATENCY_5) != HAL_OK)
  {
    _Error_Handler(__FILE__, __LINE__);
  }

    /**Configure the Systick interrupt time
    */
  HAL_SYSTICK_Config(HAL_RCC_GetHCLKFreq()/1000);

    /**Configure the Systick
    */
  HAL_SYSTICK_CLKSourceConfig(SYSTICK_CLKSOURCE_HCLK);

  /* SysTick_IRQn interrupt configuration */
  HAL_NVIC_SetPriority(SysTick_IRQn, 0, 0);
}

/* CRC init function */
static void MX_CRC_Init(void)
{

  hcrc.Instance = CRC;
  if (HAL_CRC_Init(&hcrc) != HAL_OK)
  {
    _Error_Handler(__FILE__, __LINE__);
  }

}

/* UART5 init function */
static void MX_UART5_Init(void)
{

  huart5.Instance = UART5;
  huart5.Init.BaudRate = 115200;
  huart5.Init.WordLength = UART_WORDLENGTH_8B;
  huart5.Init.StopBits = UART_STOPBITS_1;
  huart5.Init.Parity = UART_PARITY_NONE;
  huart5.Init.Mode = UART_MODE_TX_RX;
  huart5.Init.HwFlowCtl = UART_HWCONTROL_NONE;
  huart5.Init.OverSampling = UART_OVERSAMPLING_16;
  if (HAL_UART_Init(&huart5) != HAL_OK)
  {
    _Error_Handler(__FILE__, __LINE__);
  }

}

/* USART1 init function */
static void MX_USART1_UART_Init(void)
{

  huart1.Instance = USART1;
  huart1.Init.BaudRate = 115200;
  huart1.Init.WordLength = UART_WORDLENGTH_8B;
  huart1.Init.StopBits = UART_STOPBITS_1;
  huart1.Init.Parity = UART_PARITY_NONE;
  huart1.Init.Mode = UART_MODE_TX_RX;
  huart1.Init.HwFlowCtl = UART_HWCONTROL_NONE;
  huart1.Init.OverSampling = UART_OVERSAMPLING_16;
  if (HAL_UART_Init(&huart1) != HAL_OK)
  {
    _Error_Handler(__FILE__, __LINE__);
  }

}

/* USART2 init function */
static void MX_USART2_UART_Init(void)
{

  huart2.Instance = USART2;
  huart2.Init.BaudRate = 512000;
  huart2.Init.WordLength = UART_WORDLENGTH_8B;
  huart2.Init.StopBits = UART_STOPBITS_1;
  huart2.Init.Parity = UART_PARITY_NONE;
  huart2.Init.Mode = UART_MODE_TX_RX;
  huart2.Init.HwFlowCtl = UART_HWCONTROL_NONE;
  huart2.Init.OverSampling = UART_OVERSAMPLING_16;
  if (HAL_UART_Init(&huart2) != HAL_OK)
  {
    _Error_Handler(__FILE__, __LINE__);
  }

}

static void MX_DMA_Init(void)
{
  /* DMA controller clock enable */
  __HAL_RCC_DMA1_CLK_ENABLE();
  __HAL_RCC_DMA2_CLK_ENABLE();

  /* DMA interrupt init */
  /* DMA1_Stream0_IRQn interrupt configuration */
  HAL_NVIC_SetPriority(DMA1_Stream0_IRQn, 0, 0);
  HAL_NVIC_EnableIRQ(DMA1_Stream0_IRQn);
  /* DMA1_Stream5_IRQn interrupt configuration */
  HAL_NVIC_SetPriority(DMA1_Stream5_IRQn, 0, 0);
  HAL_NVIC_EnableIRQ(DMA1_Stream5_IRQn);
  /* DMA1_Stream6_IRQn interrupt configuration */
  HAL_NVIC_SetPriority(DMA1_Stream6_IRQn, 0, 0);
  HAL_NVIC_EnableIRQ(DMA1_Stream6_IRQn);
  /* DMA1_Stream7_IRQn interrupt configuration */
  HAL_NVIC_SetPriority(DMA1_Stream7_IRQn, 0, 0);
  HAL_NVIC_EnableIRQ(DMA1_Stream7_IRQn);
  /* DMA2_Stream2_IRQn interrupt configuration */
  HAL_NVIC_SetPriority(DMA2_Stream2_IRQn, 0, 0);
  HAL_NVIC_EnableIRQ(DMA2_Stream2_IRQn);
  /* DMA2_Stream7_IRQn interrupt configuration */
  HAL_NVIC_SetPriority(DMA2_Stream7_IRQn, 0, 0);
  HAL_NVIC_EnableIRQ(DMA2_Stream7_IRQn);

}

/** Configure pins as
        * Analog
        * Input
        * Output
        * EVENT_OUT
        * EXTI
        * Free pins are configured automatically as Analog (this feature is enabled through
        * the Code Generation settings)
     PA5   ------> SPI1_SCK
     PA6   ------> SPI1_MISO
     PA7   ------> SPI1_MOSI
     PB13   ------> SPI2_SCK
     PB14   ------> SPI2_MISO
     PB15   ------> SPI2_MOSI
*/
static void MX_GPIO_Init(void)
{

  GPIO_InitTypeDef GPIO_InitStruct;

  /* GPIO Ports Clock Enable */
  __HAL_RCC_GPIOC_CLK_ENABLE();
  __HAL_RCC_GPIOH_CLK_ENABLE();
  __HAL_RCC_GPIOA_CLK_ENABLE();
  __HAL_RCC_GPIOB_CLK_ENABLE();
  __HAL_RCC_GPIOD_CLK_ENABLE();

  /*Configure GPIO pin Output Level */
  HAL_GPIO_WritePin(GPIOC, GPIO_PIN_13|GPIO_PIN_14|GPIO_PIN_15, GPIO_PIN_RESET);

  /*Configure GPIO pin Output Level */
  HAL_GPIO_WritePin(GPIOA, GPIO_PIN_1, GPIO_PIN_RESET);

  /*Configure GPIO pin Output Level */
  HAL_GPIO_WritePin(GPIOB, GPIO_PIN_0|GPIO_PIN_12|GPIO_PIN_4|GPIO_PIN_5, GPIO_PIN_RESET);

  /*Configure GPIO pins : PC13 PC14 PC15 */
  GPIO_InitStruct.Pin = GPIO_PIN_13|GPIO_PIN_14|GPIO_PIN_15;
  GPIO_InitStruct.Mode = GPIO_MODE_OUTPUT_PP;
  GPIO_InitStruct.Pull = GPIO_NOPULL;
  GPIO_InitStruct.Speed = GPIO_SPEED_FREQ_LOW;
  HAL_GPIO_Init(GPIOC, &GPIO_InitStruct);

  /*Configure GPIO pins : PC0 PC1 PC4 PC5
                           PC6 PC7 PC8 PC9
                           PC10 PC11 */
  GPIO_InitStruct.Pin = GPIO_PIN_0|GPIO_PIN_1|GPIO_PIN_4|GPIO_PIN_5
                          |GPIO_PIN_6|GPIO_PIN_7|GPIO_PIN_8|GPIO_PIN_9
                          |GPIO_PIN_10|GPIO_PIN_11;
  GPIO_InitStruct.Mode = GPIO_MODE_ANALOG;
  GPIO_InitStruct.Pull = GPIO_NOPULL;
  HAL_GPIO_Init(GPIOC, &GPIO_InitStruct);

  /*Configure GPIO pins : PC2 PC3 */
  GPIO_InitStruct.Pin = GPIO_PIN_2|GPIO_PIN_3;
  GPIO_InitStruct.Mode = GPIO_MODE_INPUT;
  GPIO_InitStruct.Pull = GPIO_NOPULL;
  HAL_GPIO_Init(GPIOC, &GPIO_InitStruct);

  /*Configure GPIO pins : PA0 PA4 PA10 PA11
                           PA12 PA15 */
  GPIO_InitStruct.Pin = GPIO_PIN_0|GPIO_PIN_4|GPIO_PIN_10|GPIO_PIN_11
                          |GPIO_PIN_12|GPIO_PIN_15;
  GPIO_InitStruct.Mode = GPIO_MODE_ANALOG;
  GPIO_InitStruct.Pull = GPIO_NOPULL;
  HAL_GPIO_Init(GPIOA, &GPIO_InitStruct);

  /*Configure GPIO pin : PA1 */
  GPIO_InitStruct.Pin = GPIO_PIN_1;
  GPIO_InitStruct.Mode = GPIO_MODE_OUTPUT_PP;
  GPIO_InitStruct.Pull = GPIO_NOPULL;
  GPIO_InitStruct.Speed = GPIO_SPEED_FREQ_LOW;
  HAL_GPIO_Init(GPIOA, &GPIO_InitStruct);

  /*Configure GPIO pins : PA5 PA6 PA7 */
  GPIO_InitStruct.Pin = GPIO_PIN_5|GPIO_PIN_6|GPIO_PIN_7;
  GPIO_InitStruct.Mode = GPIO_MODE_AF_PP;
  GPIO_InitStruct.Pull = GPIO_NOPULL;
  GPIO_InitStruct.Speed = GPIO_SPEED_FREQ_VERY_HIGH;
  GPIO_InitStruct.Alternate = GPIO_AF5_SPI1;
  HAL_GPIO_Init(GPIOA, &GPIO_InitStruct);

  /*Configure GPIO pins : PB0 PB12 PB4 PB5 */
  GPIO_InitStruct.Pin = GPIO_PIN_0|GPIO_PIN_12|GPIO_PIN_4|GPIO_PIN_5;
  GPIO_InitStruct.Mode = GPIO_MODE_OUTPUT_PP;
  GPIO_InitStruct.Pull = GPIO_NOPULL;
  GPIO_InitStruct.Speed = GPIO_SPEED_FREQ_LOW;
  HAL_GPIO_Init(GPIOB, &GPIO_InitStruct);

  /*Configure GPIO pins : PB1 PB2 PB10 PB11
                           PB3 PB8 PB9 */
  GPIO_InitStruct.Pin = GPIO_PIN_1|GPIO_PIN_2|GPIO_PIN_10|GPIO_PIN_11
                          |GPIO_PIN_3|GPIO_PIN_8|GPIO_PIN_9;
  GPIO_InitStruct.Mode = GPIO_MODE_ANALOG;
  GPIO_InitStruct.Pull = GPIO_NOPULL;
  HAL_GPIO_Init(GPIOB, &GPIO_InitStruct);

  /*Configure GPIO pins : PB13 PB14 PB15 */
  GPIO_InitStruct.Pin = GPIO_PIN_13|GPIO_PIN_14|GPIO_PIN_15;
  GPIO_InitStruct.Mode = GPIO_MODE_AF_PP;
  GPIO_InitStruct.Pull = GPIO_NOPULL;
  GPIO_InitStruct.Speed = GPIO_SPEED_FREQ_VERY_HIGH;
  GPIO_InitStruct.Alternate = GPIO_AF5_SPI2;
  HAL_GPIO_Init(GPIOB, &GPIO_InitStruct);

  /*Configure GPIO pins : PA8 PA9 */
  GPIO_InitStruct.Pin = GPIO_PIN_8|GPIO_PIN_9;
  GPIO_InitStruct.Mode = GPIO_MODE_INPUT;
  GPIO_InitStruct.Pull = GPIO_NOPULL;
  HAL_GPIO_Init(GPIOA, &GPIO_InitStruct);

}

void _Error_Handler(char *file, int line)
{
	while (1) {
	}
}

/************************ (C) COPYRIGHT STMicroelectronics *****END OF FILE****/
